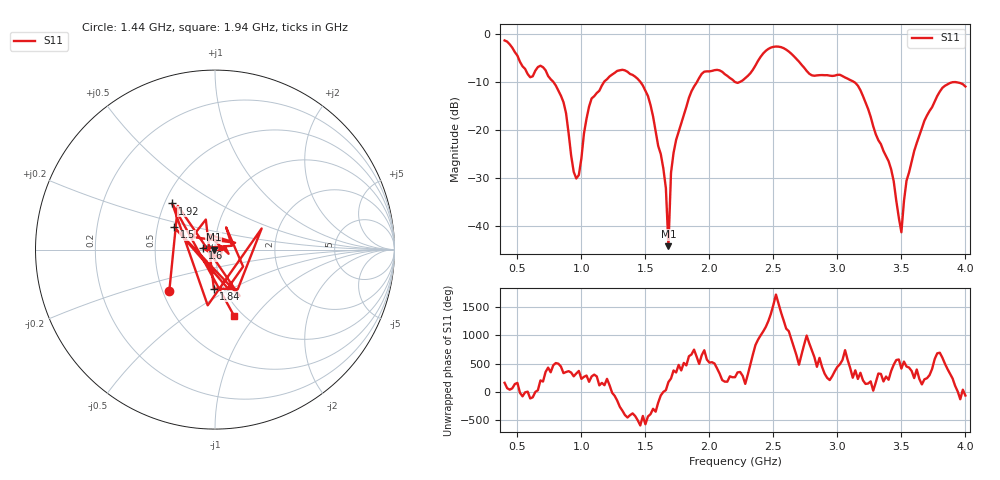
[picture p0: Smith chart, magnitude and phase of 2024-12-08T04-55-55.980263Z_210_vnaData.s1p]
!Created with skrf (http://scikit-rf.org).
# Hz S RI R 50.0
!freq ReS11 ImS11
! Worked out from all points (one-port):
!   181 points, 400 MHz to 4 GHz, reference 50 ohm
!   lowest |S11| = -44.2 dB at 1.68 GHz (marker M1), VSWR 1.01, Z = 49.4 + j0.0531 ohm
!   |S11| at or under -10 dB: 782.6 MHz to 1.176 GHz (393 MHz wide, 40.1 % of centre); 1.462 GHz to 1.902 GHz (439.3 MHz wide, 26.1 % of centre); 3.133 GHz to 3.899 GHz (765.5 MHz wide, 21.8 % of centre) (the widest 3 of 5)
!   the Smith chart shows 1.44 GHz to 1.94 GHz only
!   S11 on the Smith chart (normalised r, x): 1.44 GHz: 0.54, -0.28; 1.5 GHz: 0.61, +0.16; 1.6 GHz: 0.87, +0.01; 1.84 GHz: 0.90, -0.41; 1.92 GHz: 0.55, +0.32; 1.94 GHz: 0.91, -0.80
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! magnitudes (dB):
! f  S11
! 400 MHz  -1.3
! 600 MHz  -9.0
! 700 MHz  -6.9
! 860 MHz  -14.2
! 960 MHz  -30.1
! 1.08 GHz  -13.4
! 1.3 GHz  -7.5
! 1.44 GHz  -9.3
! 1.5 GHz  -11.8
! 1.6 GHz  -23.3
! 1.66 GHz  -32.1
! 1.68 GHz  -44.2
! 1.7 GHz  -28.9
! 1.76 GHz  -20.3
! 1.84 GHz  -13.3
! 1.92 GHz  -9.1
! 1.94 GHz  -8.2
! 2.2 GHz  -10.0
! 2.48 GHz  -2.8
! 2.66 GHz  -4.6
! 2.8 GHz  -8.5
! 3.1 GHz  -9.5
! 3.4 GHz  -26.5
! 3.5 GHz  -41.3
! 3.54 GHz  -30.6
! 3.56 GHz  -28.8
! 3.8 GHz  -12.0
! 4 GHz  -10.9
